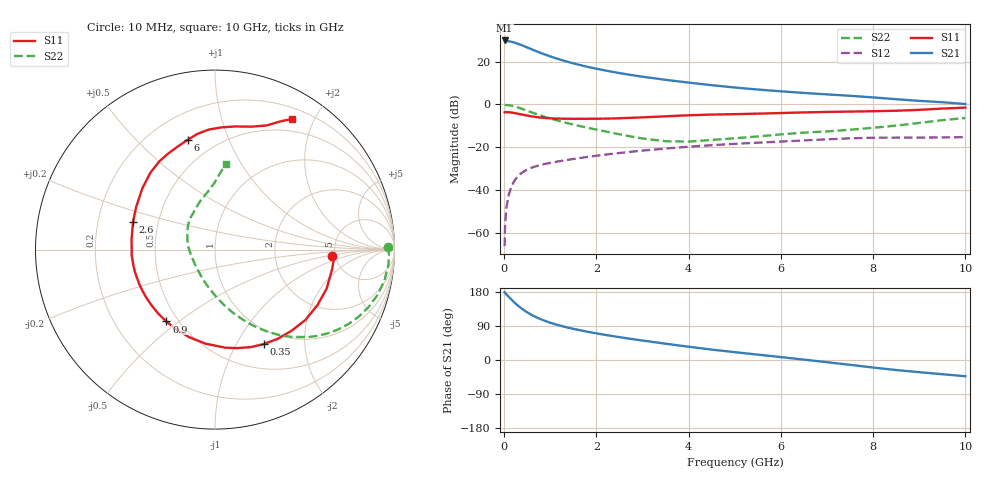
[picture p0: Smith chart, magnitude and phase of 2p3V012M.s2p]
! (c) 2009  Infineon Technologies AG, Munich
! Infineon Technologies  Discrete & RF Semiconductors
! BFP420
! VCE =  3.0 V,  IC =  12 mA
! Common Emitter S-Parameters:  Nov 2009
# GHz  S  MA  R  50
!  f  S11  S21  S12  S22
! GHz  MAG  ANG  MAG  ANG  MAG  ANG  MAG  ANG
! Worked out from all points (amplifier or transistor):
!   46 points, 10 MHz to 10 GHz, reference 50 ohm
!   highest |S21| = 29.8 dB at 10 MHz (marker M1)
!   |S21| within 3 dB of that: start of sweep to 471 MHz
!   unconditionally stable (mu >= 1): start of sweep to 11.31 MHz; 2.217 GHz to end of sweep
!   at 300 MHz: K = 0.22, MSG = 30.8 dB, |S12| = -33.4 dB
!   at 1.7 GHz: K = 0.86, MSG = 21.4 dB, |S12| = -24.8 dB
!   at 10 GHz: K = 1.08, MAG = 6.0 dB, |S12| = -15.2 dB
!   lowest NFmin = 0.95 dB at 900 MHz
!   S11 on the Smith chart (normalised r, x): 10 MHz: 4.73, -0.57; 350 MHz: 0.80, -1.30; 900 MHz: 0.43, -0.45; 2.6 GHz: 0.36, +0.14; 6 GHz: 0.35, +0.72; 10 GHz: 0.34, +1.70
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0.01  0.6551 -3.0  30.93 179.0  0.0005 93.3  0.9632 0.9
0.02  0.6653 -3.7  30.14 177.1  0.0016 87.3  0.9699 -1.9
0.1  0.6589 -19.3  29.66 166.7  0.0079 79.9  0.9592 -10.5
0.2  0.6383 -37.8  28.04 154.5  0.0152 72.9  0.9135 -20.5
0.3  0.6076 -54.9  25.86 143.4  0.0213 66.5  0.8501 -29.3
0.35  0.5921 -62.8  24.7 138.6  0.024 63.8  0.8155 -33.2
0.45  0.5629 -77.1  22.38 129.7  0.0285 59.2  0.7463 -40.1
0.6  0.5267 -95.8  19.19 118.6  0.0338 54.1  0.6513 -48.4
0.7  0.5087 -106.5  17.35 112.6  0.0366 51.8  0.5964 -53.0
0.9  0.4836 -124.1  14.36 102.6  0.0414 48.7  0.5071 -60.4
1.2  0.4674 -144.6  11.19 91.1  0.0477 46.3  0.4088 -69.4
1.4  0.4639 -155.3  9.682 85.0  0.0517 45.4  0.3607 -74.7
1.7  0.4631 -168.6  8.014 77.2  0.0577 44.2  0.3038 -82.0
2.2  0.4679 173.6  6.153 66.1  0.0679 42.0  0.2343 -94.3
2.6  0.4815 161.5  5.161 58.4  0.076 39.7  0.1923 -106.6
3.5  0.5292 140.0  3.743 43.0  0.0938 33.8  0.1389 -143.2
4.5  0.5809 122.4  2.809 27.4  0.1124 26.0  0.149 174.8
5.5  0.6103 110.0  2.224 14.2  0.1286 18.3  0.18 149.1
6  0.6306 103.9  2.022 7.7  0.1366 14.5  0.2005 138.8
7  0.6695 93.0  1.715 -5.8  0.1541 5.9  0.236 121.3
8.5  0.7134 73.7  1.323 -26.5  0.1687 -10.2  0.3217 97.6
10  0.8432 59.6  1.022 -42.9  0.1728 -20.9  0.4833 82.6
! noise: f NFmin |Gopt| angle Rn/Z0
0.9  0.95  0.03  -151  0.13
1.8  1.27  0.13  -152  0.12
2.4  1.38  0.13  -160  0.14
3  1.43  0.22  -145  0.13
4  1.58  0.35  -123  0.17
5  2.03  0.43  -103  0.28
6  2.4  0.47  -91  0.43
